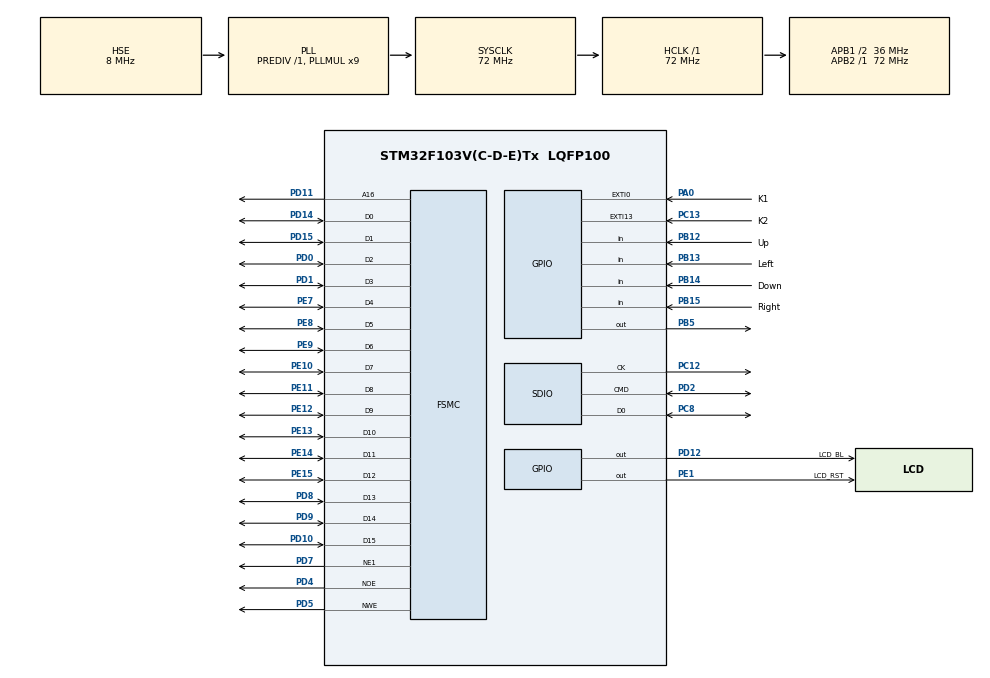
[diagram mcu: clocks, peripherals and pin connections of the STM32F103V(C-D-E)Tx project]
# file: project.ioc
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FATFS._USE_FIND=1
FATFS._USE_MKFS=0
Mcu.Family=STM32F1
Mcu.Name=STM32F103V(C-D-E)Tx
Mcu.Package=LQFP100
NVIC.EXTI0_IRQn=true\:0\:0\:false\:false\:true\:true\:true\:true
NVIC.EXTI15_10_IRQn=true\:0\:0\:false\:false\:true\:true\:true\:true
NVIC.PriorityGroup=NVIC_PRIORITYGROUP_4
NVIC.TIM2_IRQn=true\:0\:0\:false\:false\:true\:true\:true\:true
OSC_IN.Mode=HSE-External-Oscillator
OSC_IN.Signal=RCC_OSC_IN
OSC_OUT.Mode=HSE-External-Oscillator
OSC_OUT.Signal=RCC_OSC_OUT
PA0-WKUP.GPIO_Label=K1
PA0-WKUP.Signal=GPXTI0
PA13.Mode=Serial_Wire
PA13.Signal=SYS_JTMS-SWDIO
PA14.Mode=Serial_Wire
PA14.Signal=SYS_JTCK-SWCLK
PB12.GPIO_Label=Up
PB12.Signal=GPIO_Input
PB13.GPIO_Label=Left
PB13.Signal=GPIO_Input
PB14.GPIO_Label=Down
PB14.Signal=GPIO_Input
PB15.GPIO_Label=Right
PB15.Signal=GPIO_Input
PB5.GPIO_Speed=GPIO_SPEED_FREQ_HIGH
PB5.PinState=GPIO_PIN_SET
PB5.Signal=GPIO_Output
PC12.Mode=SD_1_bit
PC12.Signal=SDIO_CK
PC13-TAMPER-RTC.GPIO_Label=K2
PC13-TAMPER-RTC.Signal=GPXTI13
PC14-OSC32_IN.Mode=LSE-External-Oscillator
PC14-OSC32_IN.Signal=RCC_OSC32_IN
PC15-OSC32_OUT.Mode=LSE-External-Oscillator
PC15-OSC32_OUT.Signal=RCC_OSC32_OUT
PC8.Mode=SD_1_bit
PC8.Signal=SDIO_D0
PD0.Mode=16b-d1
PD0.Signal=FSMC_D2
PD1.Mode=16b-d1
PD1.Signal=FSMC_D3
PD10.Mode=16b-d1
PD10.Signal=FSMC_D15
PD11.Mode=A16_1
PD11.Signal=FSMC_A16
PD12.GPIO_Label=LCD_BL
PD12.GPIO_Speed=GPIO_SPEED_FREQ_HIGH
PD12.PinState=GPIO_PIN_SET
PD12.Signal=GPIO_Output
PD14.Mode=16b-d1
PD14.Signal=FSMC_D0
PD15.Mode=16b-d1
PD15.Signal=FSMC_D1
PD2.Mode=SD_1_bit
PD2.Signal=SDIO_CMD
PD4.Mode=Lcd1
PD4.Signal=FSMC_NOE
PD5.Mode=Lcd1
PD5.Signal=FSMC_NWE
PD7.Mode=NorPsramChipSelect1_1
PD7.Signal=FSMC_NE1
PD8.Mode=16b-d1
PD8.Signal=FSMC_D13
PD9.Mode=16b-d1
PD9.Signal=FSMC_D14
PE1.GPIO_Label=LCD_RST
PE1.GPIO_Speed=GPIO_SPEED_FREQ_HIGH
PE1.PinState=GPIO_PIN_SET
PE1.Signal=GPIO_Output
PE10.Mode=16b-d1
PE10.Signal=FSMC_D7
PE11.Mode=16b-d1
PE11.Signal=FSMC_D8
PE12.Mode=16b-d1
PE12.Signal=FSMC_D9
PE13.Mode=16b-d1
PE13.Signal=FSMC_D10
PE14.Mode=16b-d1
PE14.Signal=FSMC_D11
PE15.Mode=16b-d1
PE15.Signal=FSMC_D12
PE7.Mode=16b-d1
PE7.Signal=FSMC_D4
PE8.Mode=16b-d1
PE8.Signal=FSMC_D5
PE9.Mode=16b-d1
PE9.Signal=FSMC_D6
ProjectManager.HeapSize=0x200
ProjectManager.StackSize=0x400
ProjectManager.TargetToolchain=STM32CubeIDE
RCC.AHBFreq_Value=72000000
RCC.APB1CLKDivider=RCC_HCLK_DIV2
RCC.APB1Freq_Value=36000000
RCC.APB1TimFreq_Value=72000000
RCC.APB2Freq_Value=72000000
RCC.APB2TimFreq_Value=72000000
RCC.HCLKFreq_Value=72000000
RCC.PLLMUL=RCC_PLL_MUL9
RCC.PLLSourceVirtual=RCC_PLLSOURCE_HSE
RCC.SYSCLKFreq_VALUE=72000000
RCC.SYSCLKSource=RCC_SYSCLKSOURCE_PLLCLK
RCC.USBFreq_Value=72000000
SDIO.ClockDiv=1
TIM2.Channel-Output\ Compare1\ No\ Output=TIM_CHANNEL_1
TIM2.Period=4999
TIM2.Prescaler=7200
TIM2.TIM_MasterOutputTrigger=TIM_TRGO_UPDATE
TIM2.TIM_MasterSlaveMode=TIM_MASTERSLAVEMODE_DISABLE
VP_CRC_VS_CRC.Mode=CRC_Activate
VP_FATFS_VS_SDIO.Mode=SDIO
VP_TIM2_VS_ClockSourceINT.Mode=Internal
VP_TIM2_VS_no_output1.Mode=Output Compare1 No Output
board=custom

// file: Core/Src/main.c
/* USER CODE BEGIN Header */
/**
  ******************************************************************************
  * @file           : main.c
  * @brief          : Main program body
  ******************************************************************************
  * @attention
  *
  * Copyright (c) 2023 STMicroelectronics.
  * All rights reserved.
  *
  * This software is licensed under terms that can be found in the LICENSE file
  * in the root directory of this software component.
  * If no LICENSE file comes with this software, it is provided AS-IS.
  *
  ******************************************************************************
  */
/* USER CODE END Header */
#include "main.h"
#include "fatfs.h"

/* USER CODE BEGIN Includes */
#include "lcd.h"
#include "stdbool.h"
#include "stdio.h"
#include "ff.h"
#include "ff_gen_drv.h"
#include "sd_diskio.h"
#include "Game/Blob.h"
#include "Game/Player.h"
#include "Game/Snake.h"
#include "Game/Game.h"
#include "Game/Map.h"
#include "GUI/Menu.h"
#include "GUI/bg.h"
#include "internal_bg.h"
/* USER CODE END Includes */

 CRC_HandleTypeDef hcrc;

SD_HandleTypeDef hsd;

TIM_HandleTypeDef htim2;

SRAM_HandleTypeDef hsram1;

extern FATFS SDFatFS;
extern FIL SDFile;
extern char SDPath[4];

/* USER CODE BEGIN PV */
//uint32_t game_time = 0;
/* USER CODE END PV */

void SystemClock_Config(void);
static void MX_GPIO_Init(void);
static void MX_FSMC_Init(void);
static void MX_CRC_Init(void);
static void MX_TIM2_Init(void);
static void MX_SDIO_SD_Init(void);
/* USER CODE BEGIN PFP */
void HAL_GPIO_EXTI_Callback(uint16_t GPIO_Pin);
void HAL_TIM_PeriodElapsedCallback(TIM_HandleTypeDef *htim);
FRESULT init_mount_sd(void) {
	FRESULT res;

	if(FATFS_LinkDriver(&SD_Driver, SDPath) != 0) {
		return FR_INVALID_DRIVE;
	}

	res = f_mount(&SDFatFS, SDPath, 1);
	if (res != FR_OK){
		FATFS_UnLinkDriver(SDPath);
		return res;
	}

	return FR_OK;
}
/* USER CODE END PFP */

/* USER CODE BEGIN 0 */

int highScore = 0; // for player on this device only

extern uint8_t update_game_flag;  // see declaration in game.c, used in main.c while loop
extern uint8_t food_counter;

extern uint8_t menuItemCount;
extern MenuState menuState;
extern uint8_t currentMenuItem;

struct Game* game;

/**
void HAL_TIM_PeriodElapsedCallback(TIM_HandleTypeDef *htim) {	// Function for updating variables whenever timer ticks
    if (htim->Instance == TIM2) {	// basically, whenever the timer ticks
        // Update game state here
    	game_time++;				// some values get updated.
    	//toggle_LED();				// function for testing timer, just ignore it
    }

}
*/

/* USER CODE END 0 */

int main(void)
{

  /* MCU Configuration--------------------------------------------------------*/

  /* Reset of all peripherals, Initializes the Flash interface and the Systick. */
  HAL_Init();

  /* USER CODE BEGIN Init */
  LCD_INIT();
  /* USER CODE END Init */

  /* Configure the system clock */
  SystemClock_Config();

  /* Initialize all configured peripherals */
  MX_GPIO_Init();
  MX_FSMC_Init();
  MX_CRC_Init();
  MX_TIM2_Init();
  MX_SDIO_SD_Init();
  MX_FATFS_Init();
  // Initialize SD card and mount file system
   if (init_mount_sd() != FR_OK) {
     // Handle error (e.g., display an error message)
   }
  /* USER CODE BEGIN 2 */
    LCD_INIT();
    //HAL_TIM_Base_Start_IT(&htim2);
    game = Game();
    MENU_SwitchMenu(MAIN_MENU);
    // Load map data, dummy
      char map_buffer[60]; // Originally MAP_BUFFER_SIZE as parameter, = 60
      /**
      if (LoadFileMap("mapfile.bin", map_buffer) != FR_OK) { //Originally MAP_BUFFER_SIZE as parameter, = 60
        // Handle error (e.g., display an error message)
      }*/
    // these lines of code is copied from K2
    // to simulate the game start
    // since debug cannot track interrupt

    // strcpy(game->map_name, "Random(Easy)");
    // handle_K2_pressed_MainMenu();
    // int i = 0;

    //BG_DrawImg(APPLE_DATA, 0, 0, BLOCK_SIZE, BLOCK_SIZE);
    //LCD_DrawImgTranslucent(0, 0, STONE_DATA);

    //BG_RestoreBackground(BG_FOREST_DATA, 0, 0, 240, 100);
  /* USER CODE END 2 */

  /* Infinite loop */
  /* USER CODE BEGIN WHILE */
  while (1)
  {
    if (game->is_running) {   //
        if (update_game_flag) { // update_game_flag == 1, updates every half a second, same effect as Hal_Delay(1000/TICK), where TICK = 2
          Player_AddScore(&game->player_self, SCORE_PER_TICK);
    		  Game_Update(game);
    		  Game_Render(game);
    		  //HAL_Delay(1000/TICK); // simulation only, should be replaced by timer to run code and update game
          ++food_counter;
          update_game_flag = 0;
          Player_SetDirection(&game->player_self, UP, false);
				  Player_SetDirection(&game->player_self, LEFT, false);
				  Player_SetDirection(&game->player_self, DOWN, false);
				  Player_SetDirection(&game->player_self, RIGHT, false);
    	}
      if (food_counter*(1000/TICK) >= game->food_spawn_interval) { // change to the unit into ms
          Spawn_Food_Randomly(game->map);
          food_counter = 0;
      }
      if (HAL_GPIO_ReadPin(GPIOB, Up_Pin) == GPIO_PIN_RESET) {
				//HAL_GPIO_TogglePin(GPIOB, GPIO_PIN_5);
				//game->player_self->
				//Player_SetDirection(&game->player_self, UP);
				Player_SetDirection(&game->player_self, UP, true);
			}
			else if (HAL_GPIO_ReadPin(GPIOB, Left_Pin) == GPIO_PIN_RESET) {
				//Player_SetDirection(&game->player_self, LEFT);
				Player_SetDirection(&game->player_self, LEFT, true);
			}
			else if (HAL_GPIO_ReadPin(GPIOB, Down_Pin) == GPIO_PIN_RESET) {
				//Player_SetDirection(&game->player_self, DOWN);
				Player_SetDirection(&game->player_self, DOWN, true);
			}
			else if (HAL_GPIO_ReadPin(GPIOB, Right_Pin) == GPIO_PIN_RESET) {
				//Player_SetDirection(&game->player_self, RIGHT);
				Player_SetDirection(&game->player_self, RIGHT, true);
			}
    }
    // test code for cannot launch second game
    // if (i == 5) {
    //     Game_End(game);
    //     MENU_SetState(END_GAME);
    //     handle_K2_pressed_EndGame();
    //     handle_K2_pressed_MainMenu();

    // }
    // ++i;
    /* USER CODE END WHILE */

  }
}

void SystemClock_Config(void)
{
  RCC_OscInitTypeDef RCC_OscInitStruct = {0};
  RCC_ClkInitTypeDef RCC_ClkInitStruct = {0};

  /** Initializes the RCC Oscillators according to the specified parameters
  * in the RCC_OscInitTypeDef structure.
  */
  RCC_OscInitStruct.OscillatorType = RCC_OSCILLATORTYPE_HSE;
  RCC_OscInitStruct.HSEState = RCC_HSE_ON;
  RCC_OscInitStruct.HSEPredivValue = RCC_HSE_PREDIV_DIV1;
  RCC_OscInitStruct.HSIState = RCC_HSI_ON;
  RCC_OscInitStruct.PLL.PLLState = RCC_PLL_ON;
  RCC_OscInitStruct.PLL.PLLSource = RCC_PLLSOURCE_HSE;
  RCC_OscInitStruct.PLL.PLLMUL = RCC_PLL_MUL9;
  if (HAL_RCC_OscConfig(&RCC_OscInitStruct) != HAL_OK)
  {
    Error_Handler();
  }

  /** Initializes the CPU, AHB and APB buses clocks
  */
  RCC_ClkInitStruct.ClockType = RCC_CLOCKTYPE_HCLK|RCC_CLOCKTYPE_SYSCLK
                              |RCC_CLOCKTYPE_PCLK1|RCC_CLOCKTYPE_PCLK2;
  RCC_ClkInitStruct.SYSCLKSource = RCC_SYSCLKSOURCE_PLLCLK;
  RCC_ClkInitStruct.AHBCLKDivider = RCC_SYSCLK_DIV1;
  RCC_ClkInitStruct.APB1CLKDivider = RCC_HCLK_DIV2;
  RCC_ClkInitStruct.APB2CLKDivider = RCC_HCLK_DIV1;

  if (HAL_RCC_ClockConfig(&RCC_ClkInitStruct, FLASH_LATENCY_2) != HAL_OK)
  {
    Error_Handler();
  }
}

static void MX_CRC_Init(void)
{

  hcrc.Instance = CRC;
  if (HAL_CRC_Init(&hcrc) != HAL_OK)
  {
    Error_Handler();
  }

}

static void MX_SDIO_SD_Init(void)
{

  hsd.Instance = SDIO;
  hsd.Init.ClockEdge = SDIO_CLOCK_EDGE_RISING;
  hsd.Init.ClockBypass = SDIO_CLOCK_BYPASS_DISABLE;
  hsd.Init.ClockPowerSave = SDIO_CLOCK_POWER_SAVE_DISABLE;
  hsd.Init.BusWide = SDIO_BUS_WIDE_1B;
  hsd.Init.HardwareFlowControl = SDIO_HARDWARE_FLOW_CONTROL_DISABLE;
  hsd.Init.ClockDiv = 1;

}

static void MX_TIM2_Init(void)
{

  TIM_ClockConfigTypeDef sClockSourceConfig = {0};
  TIM_MasterConfigTypeDef sMasterConfig = {0};
  TIM_OC_InitTypeDef sConfigOC = {0};

  htim2.Instance = TIM2;
  htim2.Init.Prescaler = 7200;
  htim2.Init.CounterMode = TIM_COUNTERMODE_UP;
  htim2.Init.Period = 4999;
  htim2.Init.ClockDivision = TIM_CLOCKDIVISION_DIV1;
  htim2.Init.AutoReloadPreload = TIM_AUTORELOAD_PRELOAD_DISABLE;
  if (HAL_TIM_Base_Init(&htim2) != HAL_OK)
  {
    Error_Handler();
  }
  sClockSourceConfig.ClockSource = TIM_CLOCKSOURCE_INTERNAL;
  if (HAL_TIM_ConfigClockSource(&htim2, &sClockSourceConfig) != HAL_OK)
  {
    Error_Handler();
  }
  if (HAL_TIM_OC_Init(&htim2) != HAL_OK)
  {
    Error_Handler();
  }
  sMasterConfig.MasterOutputTrigger = TIM_TRGO_UPDATE;
  sMasterConfig.MasterSlaveMode = TIM_MASTERSLAVEMODE_DISABLE;
  if (HAL_TIMEx_MasterConfigSynchronization(&htim2, &sMasterConfig) != HAL_OK)
  {
    Error_Handler();
  }
  sConfigOC.OCMode = TIM_OCMODE_TIMING;
  sConfigOC.Pulse = 0;
  sConfigOC.OCPolarity = TIM_OCPOLARITY_HIGH;
  sConfigOC.OCFastMode = TIM_OCFAST_DISABLE;
  if (HAL_TIM_OC_ConfigChannel(&htim2, &sConfigOC, TIM_CHANNEL_1) != HAL_OK)
  {
    Error_Handler();
  }

}

static void MX_GPIO_Init(void)
{
  GPIO_InitTypeDef GPIO_InitStruct = {0};

  /* GPIO Ports Clock Enable */
  __HAL_RCC_GPIOC_CLK_ENABLE();
  __HAL_RCC_GPIOA_CLK_ENABLE();
  __HAL_RCC_GPIOE_CLK_ENABLE();
  __HAL_RCC_GPIOB_CLK_ENABLE();
  __HAL_RCC_GPIOD_CLK_ENABLE();

  /*Configure GPIO pin Output Level */
  HAL_GPIO_WritePin(LCD_BL_GPIO_Port, LCD_BL_Pin, GPIO_PIN_SET);

  /*Configure GPIO pin Output Level */
  HAL_GPIO_WritePin(GPIOB, GPIO_PIN_5, GPIO_PIN_SET);

  /*Configure GPIO pin Output Level */
  HAL_GPIO_WritePin(LCD_RST_GPIO_Port, LCD_RST_Pin, GPIO_PIN_SET);

  /*Configure GPIO pin : K2_Pin */
  GPIO_InitStruct.Pin = K2_Pin;
  GPIO_InitStruct.Mode = GPIO_MODE_IT_RISING;
  GPIO_InitStruct.Pull = GPIO_NOPULL;
  HAL_GPIO_Init(K2_GPIO_Port, &GPIO_InitStruct);

  /*Configure GPIO pin : K1_Pin */
  GPIO_InitStruct.Pin = K1_Pin;
  GPIO_InitStruct.Mode = GPIO_MODE_IT_RISING;
  GPIO_InitStruct.Pull = GPIO_NOPULL;
  HAL_GPIO_Init(K1_GPIO_Port, &GPIO_InitStruct);

  /*Configure GPIO pins : Up_Pin Left_Pin Down_Pin Right_Pin */
  GPIO_InitStruct.Pin = Up_Pin|Left_Pin|Down_Pin|Right_Pin;
  GPIO_InitStruct.Mode = GPIO_MODE_INPUT;
  GPIO_InitStruct.Pull = GPIO_NOPULL;
  HAL_GPIO_Init(GPIOB, &GPIO_InitStruct);

  /*Configure GPIO pin : LCD_BL_Pin */
  GPIO_InitStruct.Pin = LCD_BL_Pin;
  GPIO_InitStruct.Mode = GPIO_MODE_OUTPUT_PP;
  GPIO_InitStruct.Pull = GPIO_NOPULL;
  GPIO_InitStruct.Speed = GPIO_SPEED_FREQ_HIGH;
  HAL_GPIO_Init(LCD_BL_GPIO_Port, &GPIO_InitStruct);

  /*Configure GPIO pin : PB5 */
  GPIO_InitStruct.Pin = GPIO_PIN_5;
  GPIO_InitStruct.Mode = GPIO_MODE_OUTPUT_PP;
  GPIO_InitStruct.Pull = GPIO_NOPULL;
  GPIO_InitStruct.Speed = GPIO_SPEED_FREQ_HIGH;
  HAL_GPIO_Init(GPIOB, &GPIO_InitStruct);

  /*Configure GPIO pin : LCD_RST_Pin */
  GPIO_InitStruct.Pin = LCD_RST_Pin;
  GPIO_InitStruct.Mode = GPIO_MODE_OUTPUT_PP;
  GPIO_InitStruct.Pull = GPIO_NOPULL;
  GPIO_InitStruct.Speed = GPIO_SPEED_FREQ_HIGH;
  HAL_GPIO_Init(LCD_RST_GPIO_Port, &GPIO_InitStruct);

  /* EXTI interrupt init*/
  HAL_NVIC_SetPriority(EXTI0_IRQn, 0, 0);
  HAL_NVIC_EnableIRQ(EXTI0_IRQn);

  HAL_NVIC_SetPriority(EXTI15_10_IRQn, 0, 0);
  HAL_NVIC_EnableIRQ(EXTI15_10_IRQn);

}

/* FSMC initialization function */
static void MX_FSMC_Init(void)
{

  FSMC_NORSRAM_TimingTypeDef Timing = {0};

  /** Perform the SRAM1 memory initialization sequence
  */
  hsram1.Instance = FSMC_NORSRAM_DEVICE;
  hsram1.Extended = FSMC_NORSRAM_EXTENDED_DEVICE;
  /* hsram1.Init */
  hsram1.Init.NSBank = FSMC_NORSRAM_BANK1;
  hsram1.Init.DataAddressMux = FSMC_DATA_ADDRESS_MUX_DISABLE;
  hsram1.Init.MemoryType = FSMC_MEMORY_TYPE_SRAM;
  hsram1.Init.MemoryDataWidth = FSMC_NORSRAM_MEM_BUS_WIDTH_16;
  hsram1.Init.BurstAccessMode = FSMC_BURST_ACCESS_MODE_DISABLE;
  hsram1.Init.WaitSignalPolarity = FSMC_WAIT_SIGNAL_POLARITY_LOW;
  hsram1.Init.WrapMode = FSMC_WRAP_MODE_DISABLE;
  hsram1.Init.WaitSignalActive = FSMC_WAIT_TIMING_BEFORE_WS;
  hsram1.Init.WriteOperation = FSMC_WRITE_OPERATION_ENABLE;
  hsram1.Init.WaitSignal = FSMC_WAIT_SIGNAL_DISABLE;
  hsram1.Init.ExtendedMode = FSMC_EXTENDED_MODE_DISABLE;
  hsram1.Init.AsynchronousWait = FSMC_ASYNCHRONOUS_WAIT_DISABLE;
  hsram1.Init.WriteBurst = FSMC_WRITE_BURST_DISABLE;
  /* Timing */
  Timing.AddressSetupTime = 15;
  Timing.AddressHoldTime = 15;
  Timing.DataSetupTime = 255;
  Timing.BusTurnAroundDuration = 15;
  Timing.CLKDivision = 16;
  Timing.DataLatency = 17;
  Timing.AccessMode = FSMC_ACCESS_MODE_A;
  /* ExtTiming */

  if (HAL_SRAM_Init(&hsram1, &Timing, NULL) != HAL_OK)
  {
    Error_Handler( );
  }

  /** Disconnect NADV
  */

  __HAL_AFIO_FSMCNADV_DISCONNECTED();

}

void Error_Handler(void)
{
  __disable_irq();
  while (1)
  {
  }
}
